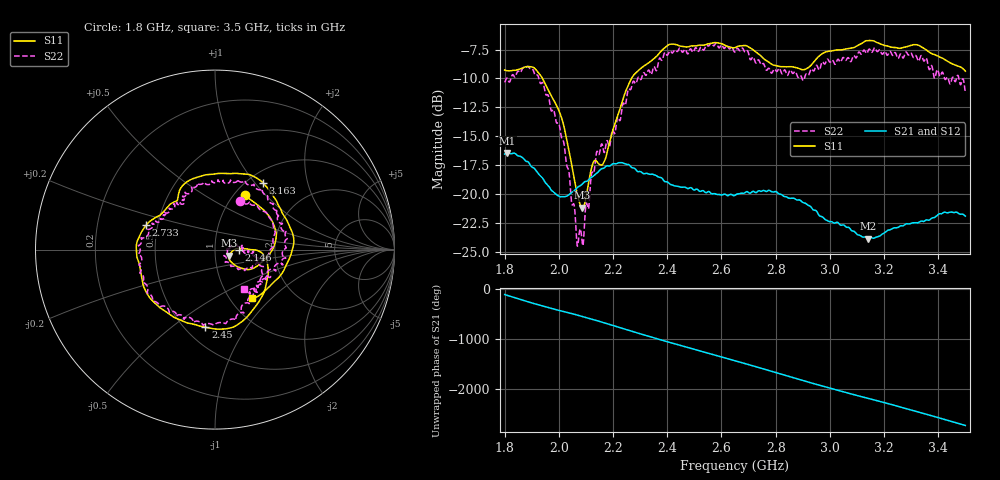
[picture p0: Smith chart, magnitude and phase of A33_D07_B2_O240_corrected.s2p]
! Created with skrf 1.9.0 (http://scikit-rf.org).
# Hz S RI R 50.0
!freq ReS11 ImS11 ReS21 ImS21 ReS12 ImS12 ReS22 ImS22
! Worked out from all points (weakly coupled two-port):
!   1601 points, 1.8 GHz to 3.5 GHz, reference 50 ohm
!   highest |S21| = -16.44 dB at 1.811 GHz (marker M1); lowest = -23.9 dB at 3.142 GHz (marker M2)
!   lowest |S11| = -21.2 dB at 2.086 GHz (marker M3), VSWR 1.19, Z = 58.6 - j3.91 ohm
!   |S11| at or under -10 dB: 1.94 GHz to 2.268 GHz (328.5 MHz wide, 15.6 % of centre)
!   |S22| runs from -24.5 to -7.0 dB; largest |S21 - S12| = 0.0027
!   S11 on the Smith chart (normalised r, x): 1.8 GHz: 1.12, +0.77; 2.146 GHz: 1.31, -0.01; 2.45 GHz: 0.63, -0.67; 2.733 GHz: 0.43, +0.14; 3.163 GHz: 1.16, +1.10; 3.5 GHz: 1.26, -0.77
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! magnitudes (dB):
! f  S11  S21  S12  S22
! 1.8 GHz  -9.3  -16.6  -16.6  -10.3
! 1.811 GHz  -9.3  -16.4  -16.4  -10.0
! 1.886 GHz  -9.0  -17.2  -17.3  -9.0
! 1.942 GHz  -10.1  -18.7  -18.7  -10.4
! 2.01 GHz  -13.4  -20.2  -20.2  -15.2
! 2.067 GHz  -19.8  -19.5  -19.5  -24.3
! 2.084 GHz  -21.2  -19.2  -19.2  -23.6
! 2.086 GHz  -21.2  -19.2  -19.2  -24.1
! 2.125 GHz  -17.4  -18.5  -18.5  -18.1
! 2.146 GHz  -17.4  -18.1  -18.1  -16.6
! 2.17 GHz  -17.1  -17.7  -17.8  -16.3
! 2.266 GHz  -10.1  -17.7  -17.6  -10.9
! 2.367 GHz  -7.9  -18.5  -18.5  -8.6
! 2.45 GHz  -7.2  -19.4  -19.4  -7.5
! 2.65 GHz  -7.3  -20.1  -20.1  -7.7
! 2.733 GHz  -7.8  -19.8  -19.8  -8.5
! 2.934 GHz  -8.8  -21.2  -21.2  -9.2
! 3.142 GHz  -6.7  -23.9  -23.8  -7.6
! 3.163 GHz  -6.8  -23.8  -23.8  -7.4
! 3.217 GHz  -7.2  -23.1  -23.1  -7.8
! 3.345 GHz  -7.4  -22.4  -22.4  -8.4
! 3.5 GHz  -9.4  -21.9  -21.9  -11.3
